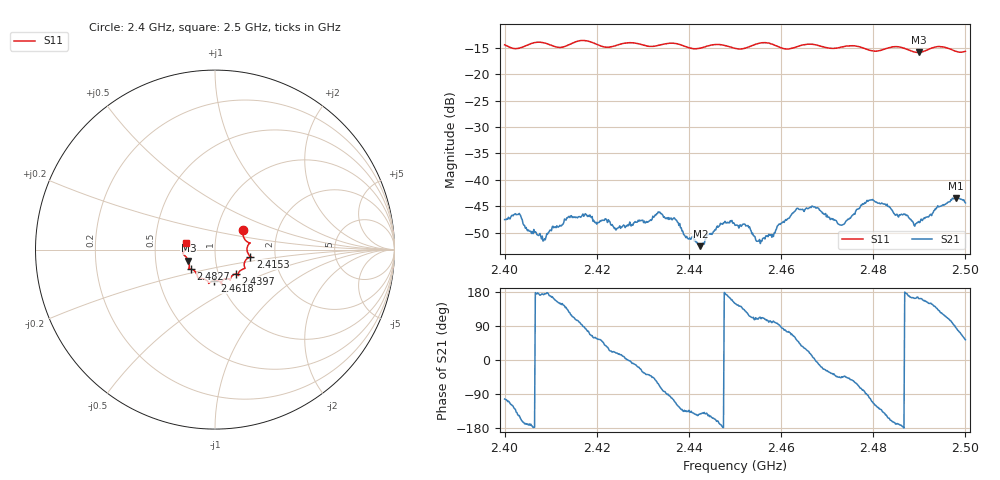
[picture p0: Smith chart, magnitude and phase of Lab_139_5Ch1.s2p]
# Hz S RI R 50
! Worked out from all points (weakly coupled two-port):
!   601 points, 2.4 GHz to 2.5 GHz, reference 50 ohm
!   highest |S21| = -43.42 dB at 2.498 GHz (marker M1); lowest = -52.5 dB at 2.4425 GHz (marker M2)
!   lowest |S11| = -15.9 dB at 2.4898 GHz (marker M3), VSWR 1.38, Z = 36.9 - j4.62 ohm
!   |S11| at or under -10 dB: start of sweep to end of sweep
!   S12 and S22 are empty: the file has one direction only
!   S11 on the Smith chart (normalised r, x): 2.4 GHz: 1.33, +0.30; 2.4153 GHz: 1.48, -0.12; 2.4397 GHz: 1.21, -0.34; 2.4618 GHz: 0.94, -0.33; 2.4827 GHz: 0.75, -0.17; 2.5 GHz: 0.72, +0.06
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2.4e9  0.1554 0.107  -0.000947 -0.00411  0 0  0 0
2.403e9  0.1643 0.0594  -0.00394 -0.00261  0 0  0 0
2.4085e9  0.194 0.0367  -0.00265 0.000352  0 0  0 0
2.415333e9  0.1969 -0.0393  -0.00131 0.0042  0 0  0 0
2.416667e9  0.2029 -0.0433  -0.000301 0.0045  0 0  0 0
2.424333e9  0.163 -0.0912  0.00327 0.0011  0 0  0 0
2.433333e9  0.1298 -0.1339  0.00231 -0.00442  0 0  0 0
2.437167e9  0.1311 -0.1431  -0.00168 -0.00384  0 0  0 0
2.439667e9  0.1165 -0.1357  -0.00201 -0.00198  0 0  0 0
2.4425e9  0.0917 -0.1499  -0.00185 -0.00148  0 0  0 0
2.447333e9  0.0837 -0.1684  -0.00381 -0.000152  0 0  0 0
2.45e9  0.0655 -0.1621  -0.00321 0.0019  0 0  0 0
2.455333e9  0.037 -0.1924  -0.00106 0.00253  0 0  0 0
2.461833e9  -0.00327 -0.1731  0.00131 0.00419  0 0  0 0
2.466667e9  -0.035 -0.188  0.00553 0.00117  0 0  0 0
2.473167e9  -0.0822 -0.1601  0.00268 -0.0026  0 0  0 0
2.479e9  -0.1032 -0.1336  -0.000737 -0.00635  0 0  0 0
2.482667e9  -0.1349 -0.1087  -0.00482 -0.00335  0 0  0 0
2.483333e9  -0.1401 -0.1083  -0.00501 -0.00251  0 0  0 0
2.489833e9  -0.1479 -0.0611  -0.00385 0.00125  0 0  0 0
2.498e9  -0.1635 0.00477  0.000636 0.00671  0 0  0 0
2.5e9  -0.1594 0.0381  0.00362 0.00488  0 0  0 0
